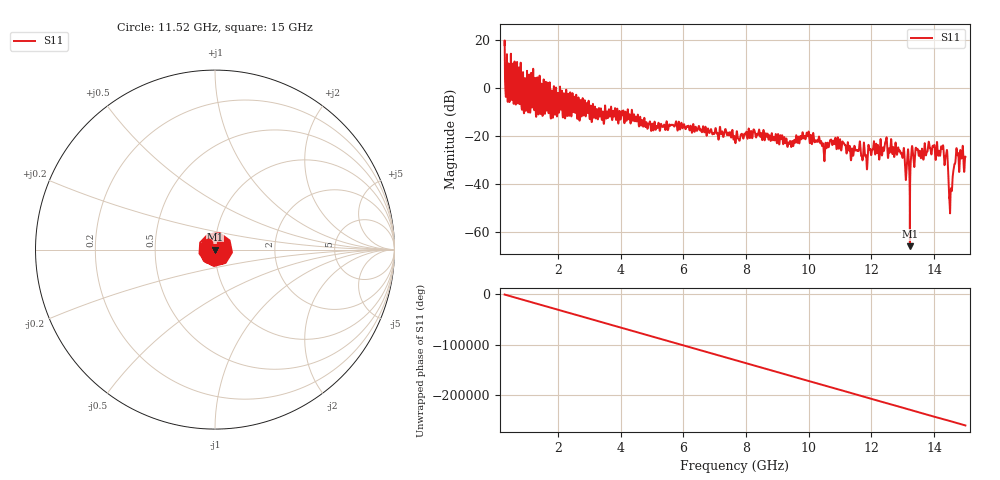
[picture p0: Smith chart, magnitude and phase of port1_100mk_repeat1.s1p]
# GHZ S RI R 50.0
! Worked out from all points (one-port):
!   12801 points, 300 MHz to 15 GHz, reference 50 ohm
!   lowest |S11| = -65.7 dB at 13.23 GHz (marker M1), VSWR 1.00, Z = 49.9 - j0.0121 ohm
!   |S11| at or under -10 dB: 4.094 GHz to 4.151 GHz (57.56 MHz wide, 1.4 % of centre); 4.239 GHz to 4.35 GHz (110.8 MHz wide, 2.58 % of centre); 4.369 GHz to end of sweep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
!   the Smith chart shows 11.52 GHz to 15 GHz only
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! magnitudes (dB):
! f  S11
! 300 MHz  18.1
! 399.9 MHz  -5.6
! 754.8 MHz  8.8
! 913.3 MHz  -9.9
! 1.21 GHz  6.5
! 1.319 GHz  -10.3
! 2.138 GHz  -6.5
! 3.975 GHz  -11.1
! 5.034 GHz  -17.1
! 5.812 GHz  -17.5
! 7.65 GHz  -21.9
! 8.222 GHz  -18.7
! 9.488 GHz  -22.6
! 9.939 GHz  -18.4
! 10.5 GHz  -30.3
! 10.74 GHz  -22.3
! 11.32 GHz  -25.4
! 11.85 GHz  -32.6
! 12.44 GHz  -22.7
! 12.98 GHz  -28.4
! 13.16 GHz  -26.0
! 13.23 GHz  -65.7
! 13.47 GHz  -25.2
! 14.24 GHz  -24.2
! 14.37 GHz  -28.1
! 14.53 GHz  -43.7
! 14.71 GHz  -25.9
! 15 GHz  -28.5
